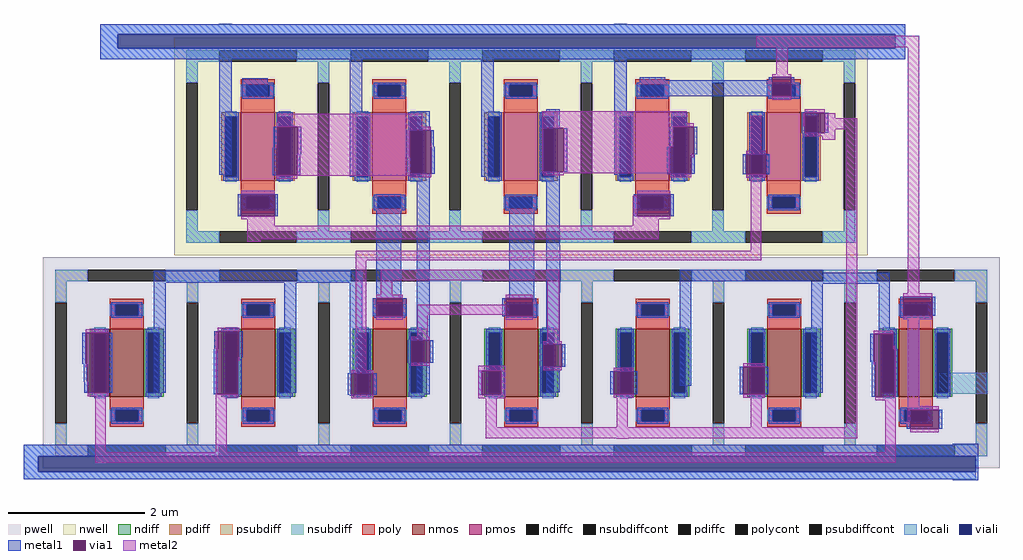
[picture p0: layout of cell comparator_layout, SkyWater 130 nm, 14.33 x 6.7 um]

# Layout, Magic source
magic
tech sky130A
magscale 1 2
<< locali >>
rect 905 2310 3268 2339
rect 905 2268 955 2310
rect 3238 2268 3268 2310
rect 905 2237 3268 2268
rect 3366 1255 3506 1316
rect 679 1071 3474 1105
rect 679 1026 722 1071
rect 679 1004 3474 1026
<< viali >>
rect 955 2268 3238 2310
rect 722 1026 3474 1071
<< metal1 >>
rect 1253 2339 1290 2340
rect 2413 2339 2450 2340
rect 905 2310 3268 2339
rect 905 2268 955 2310
rect 3238 2268 3268 2310
rect 905 2237 3268 2268
rect 1253 1897 1290 2237
rect 1321 2126 1396 2181
rect 1413 1976 1423 2038
rect 1411 1896 1421 1976
rect 1484 1958 1494 2038
rect 1482 1896 1492 1958
rect 1636 1892 1673 2237
rect 1833 2028 1872 2083
rect 1803 1948 1813 2028
rect 1874 1980 1884 2028
rect 1805 1900 1815 1948
rect 1876 1900 1886 1980
rect 1308 1776 1318 1840
rect 1416 1776 1426 1840
rect 1061 1580 1673 1616
rect 852 1342 862 1434
rect 856 1290 866 1342
rect 858 1257 868 1290
rect 929 1257 939 1434
rect 1061 1257 1097 1580
rect 1239 1385 1249 1438
rect 1237 1253 1247 1385
rect 1312 1361 1322 1438
rect 1310 1253 1320 1361
rect 1444 1258 1480 1580
rect 1637 1314 1673 1580
rect 1714 1535 1788 1840
rect 1704 1482 1714 1535
rect 1793 1482 1803 1535
rect 1833 1411 1872 1900
rect 2022 1892 2059 2237
rect 2214 2034 2253 2089
rect 2194 1906 2204 2034
rect 2265 1906 2275 2034
rect 2105 1535 2179 1838
rect 2214 1691 2253 1906
rect 2413 1897 2450 2237
rect 2488 2174 2563 2183
rect 2867 2174 2877 2183
rect 2488 2128 2877 2174
rect 2932 2128 2942 2183
rect 2576 1980 2586 2038
rect 2568 1900 2578 1980
rect 2647 1958 2657 2038
rect 2963 2020 2973 2079
rect 3031 2020 3041 2079
rect 2639 1900 2649 1958
rect 2790 1899 2800 1958
rect 2858 1899 2868 1958
rect 2470 1776 2480 1840
rect 2578 1776 2588 1840
rect 2214 1552 2254 1691
rect 2606 1610 3025 1618
rect 2606 1585 3222 1610
rect 2085 1482 2095 1535
rect 2174 1482 2184 1535
rect 1807 1346 1817 1411
rect 1872 1346 1882 1411
rect 2214 1399 2253 1552
rect 1631 1251 1641 1314
rect 1706 1251 1716 1314
rect 1833 1253 1872 1346
rect 2194 1334 2204 1399
rect 2259 1334 2269 1399
rect 2014 1251 2024 1322
rect 2082 1251 2092 1322
rect 2214 1259 2253 1334
rect 2401 1253 2411 1320
rect 2470 1253 2480 1320
rect 2606 1278 2639 1585
rect 2992 1577 3222 1585
rect 2782 1253 2792 1334
rect 2855 1253 2865 1334
rect 2992 1258 3025 1577
rect 3189 1430 3222 1577
rect 3252 1483 3262 1539
rect 3346 1483 3356 1539
rect 3165 1349 3175 1430
rect 3232 1385 3242 1430
rect 1637 1249 1673 1251
rect 3169 1245 3179 1349
rect 3236 1245 3246 1385
rect 3272 1152 3282 1208
rect 3366 1152 3376 1208
rect 3407 1105 3481 1107
rect 679 1071 3481 1105
rect 679 1026 722 1071
rect 3474 1026 3481 1071
rect 679 1004 3481 1026
rect 3407 1001 3481 1004
<< via1 >>
rect 1423 1976 1484 2038
rect 1421 1958 1484 1976
rect 1421 1896 1482 1958
rect 1813 1980 1874 2028
rect 1813 1948 1876 1980
rect 1815 1900 1876 1948
rect 1318 1776 1416 1840
rect 862 1342 929 1434
rect 866 1290 929 1342
rect 868 1257 929 1290
rect 1249 1385 1312 1438
rect 1247 1361 1312 1385
rect 1247 1253 1310 1361
rect 1714 1482 1793 1535
rect 2204 1906 2265 2034
rect 2877 2128 2932 2183
rect 2586 1980 2647 2038
rect 2578 1958 2647 1980
rect 2973 2020 3031 2079
rect 2578 1900 2639 1958
rect 2800 1899 2858 1958
rect 2480 1776 2578 1840
rect 2095 1482 2174 1535
rect 1817 1346 1872 1411
rect 1641 1251 1706 1314
rect 2204 1334 2259 1399
rect 2024 1251 2082 1322
rect 2411 1253 2470 1320
rect 2792 1253 2855 1334
rect 3262 1483 3346 1539
rect 3175 1385 3232 1430
rect 3175 1349 3236 1385
rect 3179 1245 3236 1349
rect 3282 1152 3366 1208
<< metal2 >>
rect 2830 2271 3309 2306
rect 2888 2193 2923 2271
rect 2877 2183 2932 2193
rect 2877 2118 2932 2128
rect 1425 2048 1849 2076
rect 1423 2038 1849 2048
rect 2202 2048 2626 2084
rect 2973 2079 3031 2089
rect 2202 2038 2647 2048
rect 1421 1976 1423 1986
rect 1484 2028 1874 2038
rect 1484 1958 1813 2028
rect 2202 2034 2586 2038
rect 1874 1980 1876 1990
rect 1482 1948 1813 1958
rect 1482 1900 1815 1948
rect 2202 1906 2204 2034
rect 2265 1980 2586 2034
rect 2265 1906 2578 1980
rect 2814 1968 2844 2070
rect 2968 2040 2973 2078
rect 3031 2063 3062 2078
rect 3031 2031 3126 2063
rect 3031 2020 3062 2031
rect 2973 2010 3062 2020
rect 3024 2000 3062 2010
rect 2202 1902 2578 1906
rect 1482 1896 1876 1900
rect 2204 1896 2265 1902
rect 2639 1948 2647 1958
rect 2800 1958 2858 1968
rect 1421 1894 1876 1896
rect 1421 1886 1482 1894
rect 1815 1890 1876 1894
rect 2578 1890 2639 1900
rect 2800 1889 2858 1899
rect 1318 1840 1416 1850
rect 2480 1840 2578 1850
rect 1318 1766 1416 1776
rect 1336 1748 1416 1766
rect 2468 1776 2480 1836
rect 2468 1766 2578 1776
rect 2468 1748 2544 1766
rect 1336 1708 2544 1748
rect 1336 1700 1376 1708
rect 2814 1674 2844 1889
rect 1655 1646 2844 1674
rect 862 1434 929 1444
rect 1249 1438 1312 1448
rect 862 1332 866 1342
rect 866 1280 868 1290
rect 868 1247 929 1257
rect 1244 1385 1249 1437
rect 1244 1253 1247 1385
rect 1310 1351 1312 1361
rect 1655 1324 1685 1646
rect 1727 1588 2251 1618
rect 1727 1545 1762 1588
rect 1714 1535 1793 1545
rect 2095 1535 2174 1545
rect 1714 1472 1793 1482
rect 1835 1486 2095 1516
rect 1835 1421 1865 1486
rect 2095 1472 2174 1482
rect 1817 1411 1872 1421
rect 2216 1409 2251 1588
rect 1817 1336 1872 1346
rect 2204 1399 2259 1409
rect 890 1083 921 1247
rect 1244 1243 1310 1253
rect 1641 1314 1706 1324
rect 1244 1083 1275 1243
rect 1641 1241 1706 1251
rect 2014 1322 2093 1336
rect 2204 1324 2259 1334
rect 2792 1334 2855 1344
rect 2014 1251 2024 1322
rect 2082 1251 2093 1322
rect 2014 1241 2093 1251
rect 2411 1320 2470 1330
rect 2411 1243 2470 1253
rect 2792 1243 2855 1253
rect 2036 1156 2068 1241
rect 2421 1156 2453 1243
rect 2814 1156 2846 1243
rect 3094 1156 3126 2031
rect 3274 1549 3309 2271
rect 3262 1539 3346 1549
rect 3262 1473 3346 1483
rect 3175 1430 3232 1440
rect 3232 1386 3236 1395
rect 3232 1385 3239 1386
rect 3175 1339 3179 1349
rect 3236 1245 3239 1385
rect 3179 1235 3239 1245
rect 2036 1124 3126 1156
rect 2421 1123 2453 1124
rect 3208 1083 3239 1235
rect 3274 1218 3309 1473
rect 3274 1208 3366 1218
rect 3274 1173 3282 1208
rect 3282 1142 3366 1152
rect 890 1052 3239 1083
rect 890 1050 921 1052
use sky130_fd_pr__pfet_01v8_B5E2Q5  sky130_fd_pr__pfet_01v8_B5E2Q5_0
transform 1 0 2911 0 1 1980
box -246 -319 246 319
use sky130_fd_pr__nfet_01v8_PVEW3M  XM25
transform 1 0 982 0 1 1345
box -246 -310 246 310
use sky130_fd_pr__nfet_01v8_PVEW3M  XM26
transform 1 0 1368 0 1 1345
box -246 -310 246 310
use sky130_fd_pr__nfet_01v8_PVEW3M  XM27
transform 1 0 1754 0 1 1345
box -246 -310 246 310
use sky130_fd_pr__nfet_01v8_PVEW3M  XM28
transform 1 0 2140 0 1 1345
box -246 -310 246 310
use sky130_fd_pr__pfet_01v8_X3YSY6  XM29
transform 1 0 1367 0 1 1980
box -246 -319 246 319
use sky130_fd_pr__pfet_01v8_X3YSY6  XM30
transform 1 0 1753 0 1 1980
box -246 -319 246 319
use sky130_fd_pr__pfet_01v8_X3YSY6  XM31
transform 1 0 2139 0 1 1980
box -246 -319 246 319
use sky130_fd_pr__pfet_01v8_X3YSY6  XM32
transform 1 0 2525 0 1 1980
box -246 -319 246 319
use sky130_fd_pr__nfet_01v8_PVEW3M  XM33
transform 1 0 2526 0 1 1345
box -246 -310 246 310
use sky130_fd_pr__nfet_01v8_PVEW3M  XM34
transform 1 0 2912 0 1 1345
box -246 -310 246 310
use sky130_fd_pr__nfet_01v8_PVEW3M  XM35
transform 1 0 3298 0 1 1345
box -246 -310 246 310
<< end >>

# cell sky130_fd_pr__pfet_01v8_B5E2Q5: kit device sky130_fd_pr__pfet_01v8, w 1 l 0.5 m 1 nf 1 diffcov 100 polycov 100 guard 1 glc 1 grc 1 gtc 1 gbc 1 tbcov 100 rlcov 100 topc 1 botc 1 poverlap 0 doverlap 1 lmin 0.35 wmin 0.42 compatible {sky130_fd_pr__pfet_01v8 sky130_fd_pr__pfet_01v8_lvt sky130_fd_pr__pfet_01v8_hvt sky130_fd_pr__pfet_g5v0d10v5} full_metal 1 viasrc 100 viadrn 100 viagate 100 viagb 0 viagr 0 viagl 0 viagt 0

# cell sky130_fd_pr__nfet_01v8_PVEW3M: kit device sky130_fd_pr__nfet_01v8, w 1.0 l 0.5 m 1 nf 1 diffcov 100 polycov 100 guard 1 glc 1 grc 1 gtc 1 gbc 1 tbcov 100 rlcov 100 topc 1 botc 1 poverlap 0 doverlap 1 lmin 0.15 wmin 0.42 compatible {sky130_fd_pr__nfet_01v8 sky130_fd_pr__nfet_01v8_lvt sky130_fd_bs_flash__special_sonosfet_star sky130_fd_pr__nfet_g5v0d10v5 sky130_fd_pr__nfet_05v0_nvt sky130_fd_pr__nfet_03v3_nvt} full_metal 1 viasrc 100 viadrn 100 viagate 100 viagb 0 viagr 0 viagl 0 viagt 0

# cell sky130_fd_pr__pfet_01v8_X3YSY6: kit device sky130_fd_pr__pfet_01v8, w 1.0 l 0.5 m 1 nf 1 diffcov 100 polycov 100 guard 1 glc 1 grc 1 gtc 1 gbc 1 tbcov 100 rlcov 100 topc 1 botc 1 poverlap 0 doverlap 1 lmin 0.35 wmin 0.42 compatible {sky130_fd_pr__pfet_01v8 sky130_fd_pr__pfet_01v8_lvt sky130_fd_pr__pfet_01v8_hvt sky130_fd_pr__pfet_g5v0d10v5} full_metal 1 viasrc 100 viadrn 100 viagate 100 viagb 0 viagr 0 viagl 0 viagt 0
